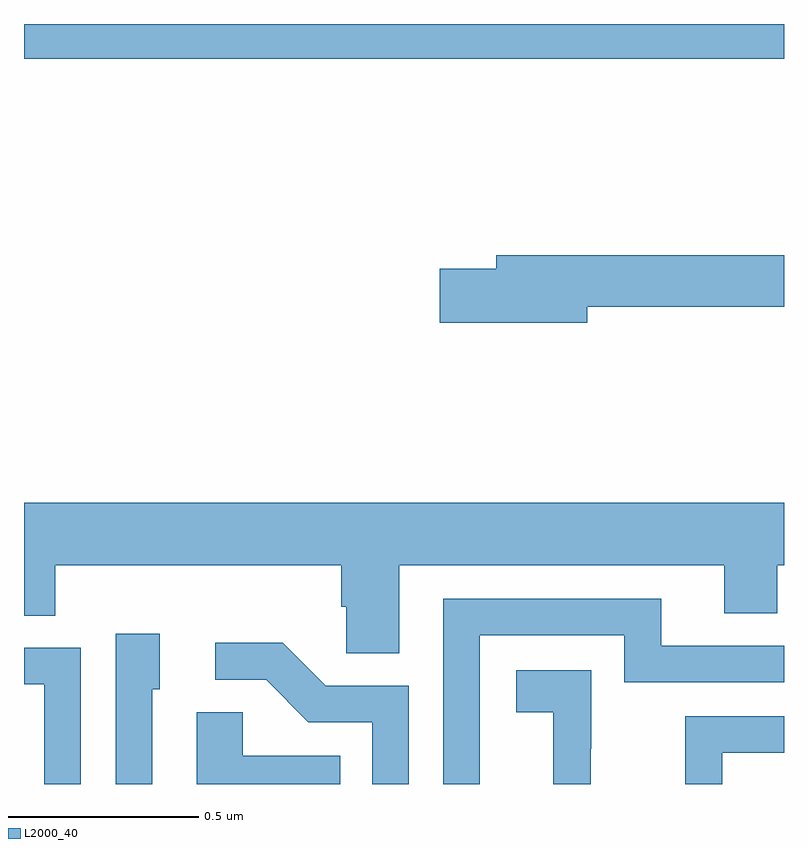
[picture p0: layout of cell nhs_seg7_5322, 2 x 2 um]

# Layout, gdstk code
import gdstk
lib = gdstk.Library(unit=1e-6, precision=1e-09)
def R(c, l, rs):  # rectangles x0, y0, x1, y1
    for r in rs: c.add(gdstk.rectangle(r[:2], r[2:], *l))
def P(c, l, *ps):  # polygons
    for p in ps: c.add(gdstk.Polygon(p, *l))
L2000_40 = (2000, 40)

nhs_seg7_5322 = lib.new_cell('nhs_seg7_5322')
R(nhs_seg7_5322, L2000_40, [(184,1041.908,186,1042)])
P(nhs_seg7_5322, L2000_40, [(185.482,1041.256),(186,1041.256),(186,1041.392),(185.243,1041.392),(185.243,1041.356),(185.094,1041.356),(185.094,1041.214),(185.482,1041.214)],
  [(184.987,1040.576),(185.843,1040.576),(185.843,1040.449),(185.982,1040.449),(185.982,1040.576),(186,1040.576),(186,1040.74),(184,1040.74),(184,1040.443),(184.082,1040.443),(184.082,1040.576),(184.835,1040.576),(184.835,1040.467),(184.848,1040.467),(184.848,1040.344),(184.987,1040.344)],
  [(185.199,1040.391),(185.58,1040.391),(185.58,1040.268),(186,1040.268),(186,1040.364),(185.677,1040.364),(185.677,1040.487),(185.103,1040.487),(185.103,1040),(185.199,1040)],
  [(184.338,1040.25),(184.357,1040.25),(184.357,1040.395),(184.242,1040.395),(184.242,1040),(184.338,1040)],
  [(185.013,1040.259),(184.794,1040.259),(184.681,1040.372),(184.503,1040.372),(184.503,1040.274),(184.637,1040.274),(184.748,1040.163),(184.917,1040.163),(184.917,1040),(185.013,1040)],
  [(184.149,1040.358),(184,1040.358),(184,1040.262),(184.053,1040.262),(184.053,1040),(184.149,1040)],
  [(185.492,1040.093),(185.493,1040.093),(185.493,1040.299),(185.295,1040.299),(185.295,1040.189),(185.393,1040.189),(185.393,1040),(185.492,1040)],
  [(184.832,1040.074),(184.575,1040.074),(184.575,1040.189),(184.454,1040.189),(184.454,1040),(184.832,1040)],
  [(185.838,1040.082),(186,1040.082),(186,1040.178),(185.74,1040.178),(185.74,1040),(185.838,1040)])

lib.write_gds('nhs_seg7_5322.gds')
